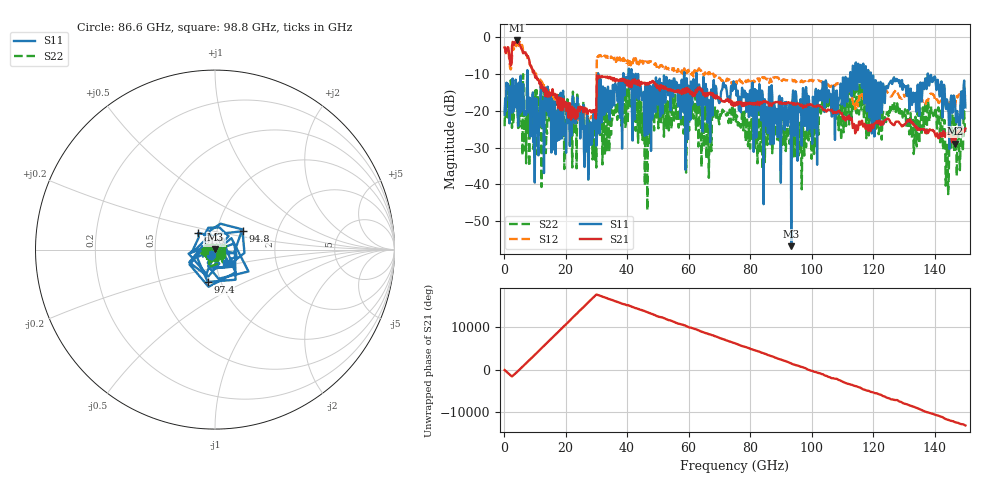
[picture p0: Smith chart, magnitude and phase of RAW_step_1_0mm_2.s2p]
!  2-Port S-parameters saved by WinCal
! VAR NAME=RAW_stepline_1mm_2
! VAR DATE=08/08/2022 23:07:32
! VAR FILENAME=RAW_stepline_1mm_2.S2P
! VAR MeasName=S-Parameters (CALIBRATED_DATA) read from VNA (MS4647B)
! VAR MeasDate=27-Apr-22 16:47:37
! VAR PHYS_PORTS=1,2
! VAR ObjTypeName=DATASET
! VAR IndexType=Frequency
! VAR ChuckHeaterState=Unknown
! VAR ChuckTemp=NaN
! VAR ChuckTempUnits=Unknown
# Hz S RI R 50
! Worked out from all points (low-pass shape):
!   750 points, 200 MHz to 150 GHz, reference 50 ohm
!   highest |S21| = -0.85 dB at 4.2 GHz (marker M1); lowest = -28.9 dB at 146.6 GHz (marker M2)
!   |S21| within 3 dB of the highest: 720.4 MHz to 1.577 GHz (856.2 MHz wide, 74.6 % of centre); 2.541 GHz to 6.047 GHz (3.506 GHz wide, 81.6 % of centre)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
!   lowest |S11| = -56.8 dB at 93.4 GHz (marker M3), VSWR 1.00, Z = 50 + j0.135 ohm
!   |S11| at or under -10 dB: 7.633 GHz to 30.59 GHz (22.96 GHz wide, 120 % of centre); 62.61 GHz to 112.6 GHz (49.96 GHz wide, 57 % of centre); 119.2 GHz to 137.8 GHz (18.56 GHz wide, 14.4 % of centre)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
!   |S22| runs from -47.1 to -9.9 dB; largest |S21 - S12| = 1.8
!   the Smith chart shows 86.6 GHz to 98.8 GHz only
!   S11 on the Smith chart (normalised r, x): 86.6 GHz: 0.96, -0.05; 91.8 GHz: 0.81, +0.15; 94.8 GHz: 1.33, +0.28; 97.4 GHz: 0.87, -0.32; 98.8 GHz: 1.12, -0.17
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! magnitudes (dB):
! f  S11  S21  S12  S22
! 200 MHz  -21.1  -2.7  -2.6  -24.2
! 4.2 GHz  -19.3  -0.8  -1.4  -18.9
! 25.2 GHz  -20.0  -19.5  -21.1  -22.0
! 29.4 GHz  -23.9  -19.8  -21.4  -27.7
! 30.8 GHz  -15.8  -10.9  -5.0  -19.7
! 41.2 GHz  -11.0  -12.2  -7.6  -18.8
! 46 GHz  -13.2  -13.0  -7.1  -19.0
! 50.2 GHz  -15.0  -13.2  -7.7  -24.8
! 75.2 GHz  -12.7  -18.6  -12.1  -21.7
! 86.6 GHz  -29.1  -17.9  -11.3  -27.3
! 91.8 GHz  -17.6  -18.0  -11.6  -27.3
! 93.4 GHz  -56.8  -17.7  -11.6  -26.6
! 94.8 GHz  -14.7  -18.4  -12.2  -23.1
! 97.4 GHz  -14.7  -19.0  -12.1  -27.7
! 98.8 GHz  -20.1  -18.4  -11.7  -25.4
! 100.2 GHz  -29.0  -18.5  -11.7  -25.2
! 104.6 GHz  -11.7  -20.1  -12.7  -19.0
! 125.2 GHz  -12.6  -22.4  -15.7  -20.1
! 140.8 GHz  -12.9  -26.1  -16.9  -24.8
! 144 GHz  -16.9  -26.2  -16.8  -28.9
! 146.6 GHz  -17.5  -28.9  -19.0  -22.0
! 150 GHz  -19.1  -24.8  -15.7  -25.9
